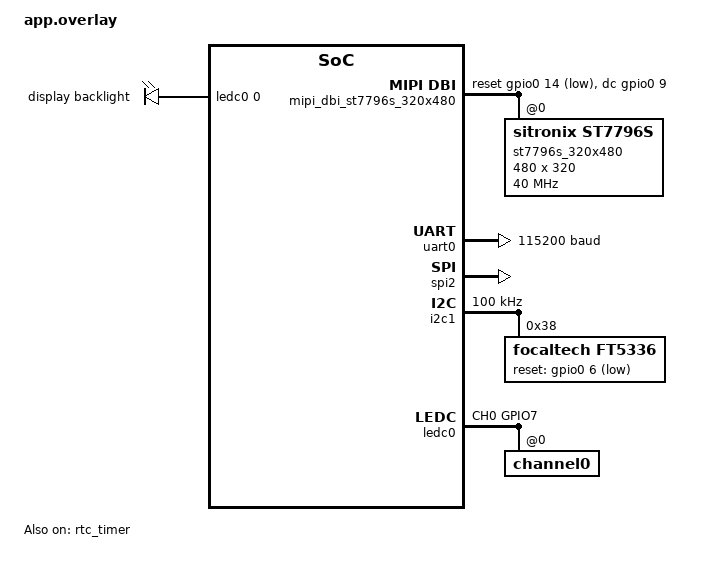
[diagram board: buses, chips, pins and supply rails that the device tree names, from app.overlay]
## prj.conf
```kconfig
CONFIG_CPP=y
CONFIG_GLIBCXX_LIBCPP=y

CONFIG_ESP_SPIRAM=y
CONFIG_SPIRAM_MODE_OCT=y

CONFIG_LV_Z_MEM_POOL_SIZE=25000
CONFIG_MAIN_STACK_SIZE=2048

CONFIG_DISPLAY=y
CONFIG_SPI=y
CONFIG_DMA=y
CONFIG_INPUT=y
CONFIG_DISPLAY_LOG_LEVEL_ERR=y

CONFIG_LOG=y

CONFIG_LVGL=y
CONFIG_LV_USE_LARGE_COORD=y
CONFIG_LV_MEM_CUSTOM=y
CONFIG_LV_USE_LOG=y
CONFIG_LV_USE_LABEL=y
CONFIG_LV_USE_BTN=y
CONFIG_LV_USE_ARC=y
CONFIG_LV_USE_IMG=y
CONFIG_LV_USE_MONKEY=y
CONFIG_LV_FONT_MONTSERRAT_14=y
CONFIG_LV_COLOR_16_SWAP=y
#CONFIG_LV_USE_PERF_MONITOR=y
CONFIG_LV_DISP_DEF_REFR_PERIOD=15
CONFIG_LV_Z_DOUBLE_VDB=y
CONFIG_LV_Z_VDB_SIZE=10
CONFIG_LV_Z_FLUSH_THREAD=y

CONFIG_NEWLIB_LIBC=y
CONFIG_NEWLIB_LIBC_FLOAT_PRINTF=y

CONFIG_COUNTER=y  
CONFIG_RTC=y  

CONFIG_GPIO=y
CONFIG_PWM=y

CONFIG_SERIAL=y
CONFIG_UART_INTERRUPT_DRIVEN=y
CONFIG_CONSOLE=y
CONFIG_UART_CONSOLE=y

CONFIG_UART_LINE_CTRL=y

CONFIG_NVS=y
CONFIG_FLASH=y
CONFIG_MPU_ALLOW_FLASH_WRITE=y

CONFIG_DEBUG=y
```

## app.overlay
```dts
#include <zephyr/dt-bindings/mipi_dbi/mipi_dbi.h>
#include <zephyr/dt-bindings/pwm/pwm.h>

/ {
	chosen {
		zephyr,display = &st7796s_320x480;
		zephyr,console = &uart0;
		zephyr,shell-uart = &uart0;
	};

	lvgl_pointer {
		compatible = "zephyr,lvgl-pointer-input";
		input = <&ft5336>;
		invert-y;
	};

    backlight_leds: backlight_leds {
		compatible = "pwm-leds";
		display_back_led: display_back_led_0 {
			pwms = <&ledc0 0 PWM_MSEC(5) PWM_POLARITY_NORMAL>;
			label = "display backlight";
		};
	};

    aliases {
		backlight0 = &display_back_led;
		uart-0 = &uart0;
	};

	mipi_dbi_st7796s_320x480 {
		compatible = "zephyr,mipi-dbi-spi";
		spi-dev = <&spi2>;
		dc-gpios = <&gpio0 9 GPIO_ACTIVE_HIGH>;	/* 9 */
		reset-gpios = <&gpio0 14 GPIO_ACTIVE_LOW>;	/* 14 */
		write-only;
		#address-cells = <1>;
		#size-cells = <0>;

		st7796s_320x480: st7796s@0 {
			compatible = "sitronix,st7796s";
			mipi-max-frequency = <40000000>;
			reg = <0>;
			width = <480>;
			height = <320>;
            vcmpctl = <0x0A>;
            madctl = <0x28>;
            pwr1 = [80 45];
            pwr2 = <0x13>;
            pwr3 = <0xA7>;
            doca = [40 8A 00 00 29 19 A5 33];
			pgc = [D0 08 0F 06 06 33 30 33 47 17 13 13 2B 31];
            ngc = [D0 0A 11 0B 09 07 2F 33 47 38 15 16 2C 32];
			color-invert;
		};
	};
};

&uart0 {
	status = "okay";
	current-speed = <115200>;
	pinctrl-0 = <&uart0_default>;
	pinctrl-names = "default";
};

&dma {
	status = "okay";
};

&spi2 {
	status = "okay";
	#address-cells = <1>;
	#size-cells = <0>;
	pinctrl-0 = <&spim2_default>;
	pinctrl-names = "default";
	cs-gpios = <&gpio0 10 GPIO_ACTIVE_LOW>;
};

&i2c1 {
	status = "okay";
	clock-frequency = <I2C_BITRATE_STANDARD>;
	pinctrl-0 = <&i2c1_default>;
	pinctrl-names = "default";
	ft5336: ft5336@38 {
		compatible = "focaltech,ft5336";
		reg = <0x38>;
		reset-gpios = <&gpio0 6 GPIO_ACTIVE_LOW>;
	};
};

&ledc0 {  
	#address-cells = <1>; 
    #size-cells = <0>; 
    pinctrl-0 = <&ledc0_default>;  
    pinctrl-names = "default";  
    status = "okay";  
      
    channel0@0 {  
        reg = <0x0>;  
        timer = <0>;  
    };  
};

&pinctrl {  
    ledc0_default: ledc0_default {  
        group1 {  
            pinmux = <LEDC_CH0_GPIO7>;
            output-enable;  
        };  
    };  
};

&rtc_timer {  
    status = "okay";  
};


/* 16MB flash */
&flash0 {
	reg = <0x0 DT_SIZE_M(16)>;
};

/* 8MB psram */
&psram0 {
	size = <DT_SIZE_M(8)>;
};
```

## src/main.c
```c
#include <zephyr/kernel.h>
#include <zephyr/logging/log.h>

#include "backlight.h"
#include "ui.h"
#include "console.h"

LOG_MODULE_REGISTER(MAIN);

k_tid_t backlight_tid;
K_THREAD_STACK_DEFINE(backlight_thread_stack_area, 1024);
struct k_thread backlight_thread_data;

k_tid_t ui_tid;
K_THREAD_STACK_DEFINE(ui_thread_stack_area, 8192);
struct k_thread ui_thread_data;

k_tid_t console_tid;
K_THREAD_STACK_DEFINE(console_thread_stack_area, 4096);
struct k_thread console_thread_data;

int main(void)
{	
	LOG_INF("Starting threads");

	backlight_tid = k_thread_create(&backlight_thread_data,
								backlight_thread_stack_area,
								K_THREAD_STACK_SIZEOF(backlight_thread_stack_area),
								backlight_thread,
								NULL, NULL, NULL,
								5, 0, K_NO_WAIT);
	LOG_INF("Created backlight thread");

	ui_tid = k_thread_create(&ui_thread_data,
								ui_thread_stack_area,
								K_THREAD_STACK_SIZEOF(ui_thread_stack_area),
								ui_thread,
								NULL, NULL, NULL,
								5, 0, K_NO_WAIT);
	LOG_INF("Created UI thread");

	console_tid = k_thread_create(&console_thread_data,
								console_thread_stack_area,
								K_THREAD_STACK_SIZEOF(console_thread_stack_area),
								console_thread,
								NULL, NULL, NULL,
								5, 0, K_NO_WAIT);
	LOG_INF("Created console thread");

	LOG_INF("Aborting from main");

	return 0;
}
```
